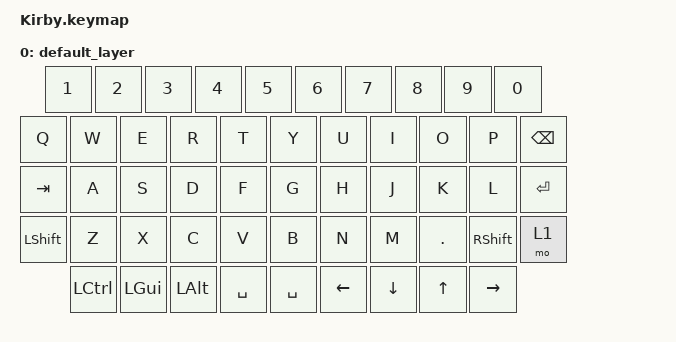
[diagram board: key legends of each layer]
#include <behaviors.dtsi>
#include <dt-bindings/zmk/bt.h>
#include <dt-bindings/zmk/keys.h>
#include <dt-bindings/zmk/outputs.h>

#define DEFAULT 0

/ {

	keymap {
		compatible = "zmk,keymap";
		
		default_layer {
			bindings = <
				&kp N1 &kp N2 &kp N3 &kp N4 &kp N5 &kp N6 &kp N7 &kp N8 &kp N9 &kp N0  
				&kp Q  &kp W  &kp E  &kp R  &kp T  &kp Y  &kp U  &kp I  &kp O  &kp P  &kp BSPC
				&kp TAB  &kp A  &kp S  &kp D  &kp F  &kp G  &kp H  &kp J  &kp K  &kp L  &kp ENTER
				&kp LSHFT   &kp Z  &kp X  &kp C  &kp V  &kp B  &kp N  &kp M  &kp DOT  &kp RSHFT &mo 1
				&kp LCTRL &kp LGUI &kp LALT     &kp SPACE    &kp SPACE   &kp LEFT  &kp DOWN   &kp UP &kp RIGHT
			>;
		};
		

	};
};
